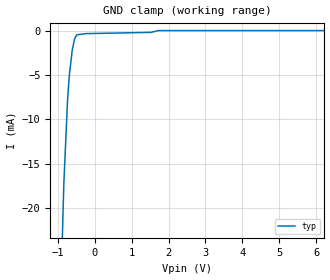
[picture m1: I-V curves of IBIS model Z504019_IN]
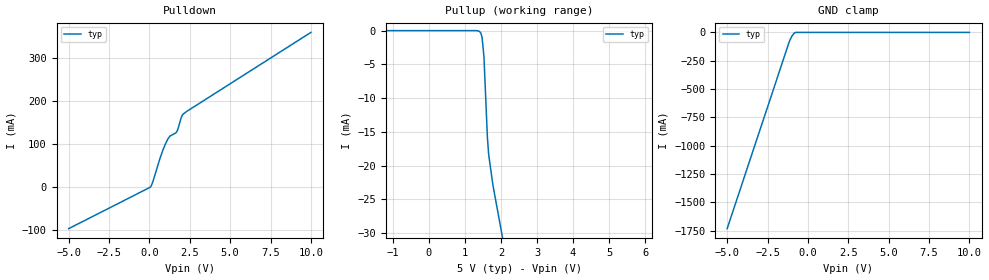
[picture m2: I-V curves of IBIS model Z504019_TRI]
| YOU ARE ONLY AUTHORIZED TO USE THIS SOFTWARE
| ACCORDING TO LICENSOR'S LICENSE RESTRICTIONS.
[IBIS Ver] 3.1
[File Name] mc74f373dw.ibs
[File Rev] 2.0
[Source] Measured and created by ICX Technology
[Date] Friday 7/14/00 9:08:05 AM
[Copyright]
| (C) COPYRIGHT 1993-2000
| MENTOR GRAPHICS CORPORATION
| ICX STANDARD LIBRARY, ICX PROJECT MODELING,
| ICX CUSTOM MODELING, ICX VENDOR MODEL
| ALL RIGHTS RESERVED.
| THE FOLLOWING ARE TRADEMARKS OR SERVICE MARKS OF
| MENTOR GRAPHICS CORPORATION:ICX (R), ICX STANDARD
| LIBRARY(R), ICX PROJECT MODELING(R), ICX CUSTOM
| MODELING(R), qualityIBIS(TM), MODELVIEWER(TM),
| AND MODELEDITOR(TM)
| ALL COPIES OF SOFTWARE, INCLUDING BUT NOT LIMITED TO
| ANY MODIFICATIONS, ENHANCEMENTS OR DERIVATIVE WORKS,
| MUST CONTAIN ALL MENTOR GRAPHICS CORPORATION'S
| NOTICES AND LEGENDS, INCLUDING THOSE EMBEDDED IN
| SOFTWARE AND THOSE AFFIXED TO SOFTWARE MEDIUM
| AND CONTAINER, AS RECEIVED FROM MENTOR GRAPHICS
| CORPORATION.
|  ZAP Model Builder 2.7
[Component] MC74F373DW
[Manufacturer] OnSemiconductor
[Package]
| variable   typ   min   max
R_pkg  .216ohms NA NA
L_pkg  5.76nH NA NA
C_pkg  2.193pF NA NA
[Pin] signal_name  model_name  R_pin  L_pin C_pin
1 _G Z504019_IN .232 9.76n 3.179p
2 Q0 Z504019_TRI .224 7.26n 2.686p
3 D0 Z504019_IN .216 5.26n 2.193p
4 D1 Z504019_IN .208 3.76n 1.7p
5 Q1 Z504019_TRI .2 2.76n 1.207p
6 Q2 Z504019_TRI .2 2.76n 1.207p
7 D2 Z504019_IN .208 3.76n 1.7p
8 D3 Z504019_IN .216 5.26n 2.193p
9 Q3 Z504019_TRI .224 7.26n 2.686p
10 GND GND .232 9.76n 3.179p
11 C Z504019_IN .232 9.76n 3.179p
12 Q4 Z504019_TRI .224 7.26n 2.686p
13 D4 Z504019_IN .216 5.26n 2.193p
14 D5 Z504019_IN .208 3.76n 1.7p
15 Q5 Z504019_TRI .2 2.76n 1.207p
16 Q6 Z504019_TRI .2 2.76n 1.207p
17 D6 Z504019_IN .208 3.76n 1.7p
18 D7 Z504019_IN .216 5.26n 2.193p
19 Q7 Z504019_TRI .224 7.26n 2.686p
20 VCC POWER .232 9.76n 3.179p
| Models and submodels in the file (2): Z504019_IN (Input), Z504019_TRI (3-state)
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| (C) COPYRIGHT 1993-2000
| MENTOR GRAPHICS CORPORATION
| ICX STANDARD LIBRARY, ICX PROJECT MODELING,
| ICX CUSTOM MODELING, ICX VENDOR MODEL
| ALL RIGHTS RESERVED.
| THE FOLLOWING ARE TRADEMARKS OR SERVICE MARKS OF
| MENTOR GRAPHICS CORPORATION:ICX (R), ICX STANDARD
| LIBRARY(R), ICX PROJECT MODELING(R), ICX CUSTOM
| MODELING(R), qualityIBIS(TM), MODELVIEWER(TM),
| AND MODELEDITOR(TM)
| ALL COPIES OF SOFTWARE, INCLUDING BUT NOT LIMITED TO
| ANY MODIFICATIONS, ENHANCEMENTS OR DERIVATIVE WORKS,
| MUST CONTAIN ALL MENTOR GRAPHICS CORPORATION'S
| NOTICES AND LEGENDS, INCLUDING THOSE EMBEDDED IN
| SOFTWARE AND THOSE AFFIXED TO SOFTWARE MEDIUM
| AND CONTAINER, AS RECEIVED FROM MENTOR GRAPHICS
| CORPORATION.
| Model Application Version 1.89 2/18/99.
[Model] Z504019_IN
Model_type Input
Vinl = 800.0mV
Vinh = 2.000V
C_comp 4.000pF NA NA
| variable typ   min   max
[Voltage Range] 5.000V NA NA
[GND Clamp Reference] 0.000V NA NA
[POWER Clamp Reference] 5.000V NA NA
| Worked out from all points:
|   GND clamp passes 1 mA (typ) near -0.55 V on its own axis
[GND Clamp]
-5V       -647.4mA   NA         NA
-833.7mV  -17.31mA   NA         NA
-731.5mV  -7.714mA   NA         NA
-680.5mV  -4.876mA   NA         NA
-605.5mV  -2.206mA   NA         NA
-541.6mV  -929.3uA   NA         NA
-482.6mV  -484.1uA   NA         NA
-241.3mV  -347.7uA   NA         NA
1.525V    -206.6uA   NA         NA
1.723V    -5.668uA   NA         NA
10V       -5.668uA   NA         NA
[POWER Clamp]
-5V       0A         NA         NA
10V       0A         NA         NA
| (C) COPYRIGHT 1993-2000
| MENTOR GRAPHICS CORPORATION
| ICX STANDARD LIBRARY, ICX PROJECT MODELING,
| ICX CUSTOM MODELING, ICX VENDOR MODEL
| ALL RIGHTS RESERVED.
| THE FOLLOWING ARE TRADEMARKS OR SERVICE MARKS OF
| MENTOR GRAPHICS CORPORATION:ICX (R), ICX STANDARD
| LIBRARY(R), ICX PROJECT MODELING(R), ICX CUSTOM
| MODELING(R), qualityIBIS(TM), MODELVIEWER(TM),
| AND MODELEDITOR(TM)
| ALL COPIES OF SOFTWARE, INCLUDING BUT NOT LIMITED TO
| ANY MODIFICATIONS, ENHANCEMENTS OR DERIVATIVE WORKS,
| MUST CONTAIN ALL MENTOR GRAPHICS CORPORATION'S
| NOTICES AND LEGENDS, INCLUDING THOSE EMBEDDED IN
| SOFTWARE AND THOSE AFFIXED TO SOFTWARE MEDIUM
| AND CONTAINER, AS RECEIVED FROM MENTOR GRAPHICS
| CORPORATION.
| Model Application Version 1.89 2/18/99.
[Model] Z504019_TRI
Model_type 3-state
Vref=0.000V
Rref=500.0ohms
Cref=50.00pF
Vmeas=1.500V
C_comp 8.000pF NA NA
| variable typ   min   max
[Voltage Range] 5.000V NA NA
[POWER Clamp Reference] 5.000V NA NA
[Pullup Reference] 5.000V NA NA
[Pulldown Reference] 0.000V NA NA
[GND Clamp Reference] 0.000V NA NA
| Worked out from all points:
|   slope of the pulldown table from 0 to 0.75 V, typ, clamps not added: 9.63 ohm
|   GND clamp passes 1 mA (typ) near -0.77 V on its own axis
[GND Clamp]
-5V       -1.731A    NA         NA
-1.152V   -81.5mA    NA         NA
-1.006V   -36.18mA   NA         NA
-858.9mV  -8.319mA   NA         NA
-763.5mV  0A         NA         NA
10V       0A         NA         NA
[Pulldown]
-5V       -96.98mA   NA         NA
48.83mV   -956.1uA   NA         NA
146.5mV   4.981mA    NA         NA
234.3mV   14.23mA    NA         NA
654.3mV   65.86mA    NA         NA
996.3mV   99.63mA    NA         NA
1.144V    111mA      NA         NA
1.279V    118mA      NA         NA
1.708V    128.4mA    NA         NA
1.968V    160.2mA    NA         NA
2.081V    168.2mA    NA         NA
10V       358.3mA    NA         NA
[Pullup]
-5V       8.321uA    NA         NA
1.326V    193nA      NA         NA
1.402V    -108.2uA   NA         NA
1.44V     -359.4uA   NA         NA
1.474V    -978.2uA   NA         NA
1.526V    -3.846mA   NA         NA
1.622V    -15.83mA   NA         NA
1.656V    -18.3mA    NA         NA
1.772V    -22.79mA   NA         NA
10V       -263.5mA   NA         NA
[POWER Clamp]
-5V       0A         NA         NA
10V       0A         NA         NA
[Ramp]
| variable typ min max
dV/dt_r 2.029/3.150n NA NA
dV/dt_f 2.029/1.339n NA NA
R_load = 500.0Ohms
